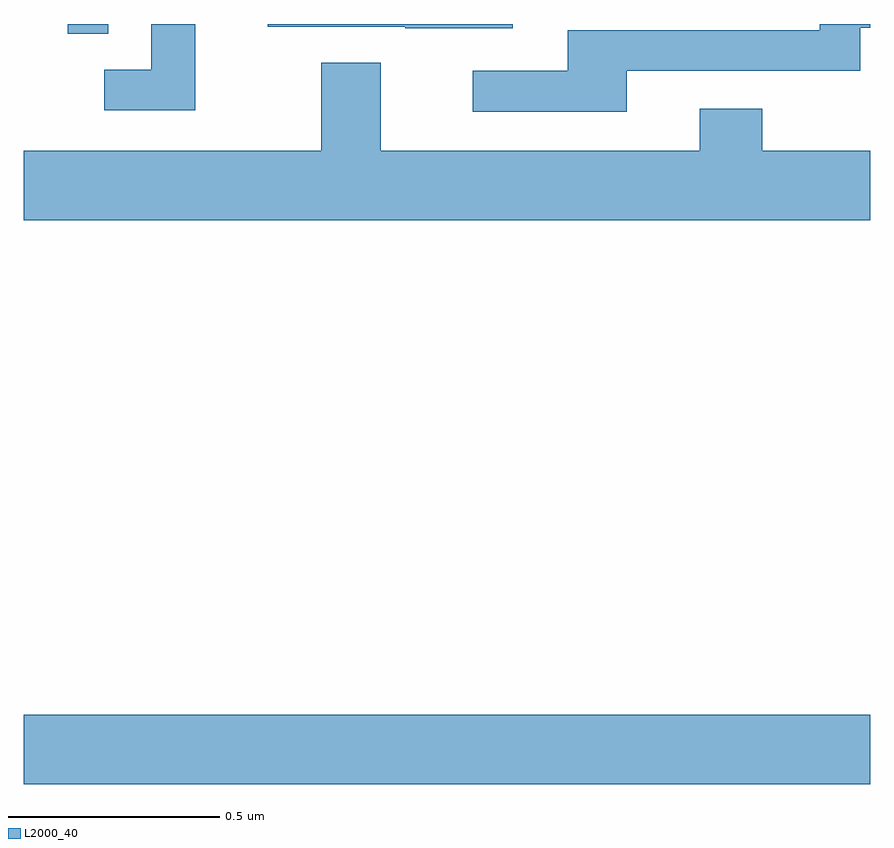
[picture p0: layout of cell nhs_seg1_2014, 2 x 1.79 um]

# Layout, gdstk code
import gdstk
lib = gdstk.Library(unit=1e-6, precision=1e-09)
def R(c, l, rs):  # rectangles x0, y0, x1, y1
    for r in rs: c.add(gdstk.rectangle(r[:2], r[2:], *l))
def P(c, l, *ps):  # polygons
    for p in ps: c.add(gdstk.Polygon(p, *l))
L2000_40 = (2000, 40)

nhs_seg1_2014 = lib.new_cell('nhs_seg1_2014')
R(nhs_seg1_2014, L2000_40, [(136,546.404,138,546.568), (136.104,548.176,136.2,548.199)])
P(nhs_seg1_2014, L2000_40, [(136.405,548.199),(136.301,548.199),(136.301,548.091),(136.191,548.091),(136.191,547.995),(136.405,547.995)],
  [(137.425,548.088),(137.976,548.088),(137.976,548.19),(138,548.19),(138,548.199),(137.88,548.199),(137.88,548.184),(137.285,548.184),(137.285,548.088),(137.061,548.088),(137.061,547.992),(137.425,547.992)],
  [(137.155,548.199),(136.577,548.199),(136.577,548.193),(136.901,548.193),(136.901,548.189),(137.155,548.189)],
  [(138,547.9),(137.745,547.9),(137.745,547.999),(137.597,547.999),(137.597,547.9),(136.843,547.9),(136.843,548.108),(136.703,548.108),(136.703,547.9),(136,547.9),(136,547.736),(138,547.736)])

lib.write_gds('nhs_seg1_2014.gds')
